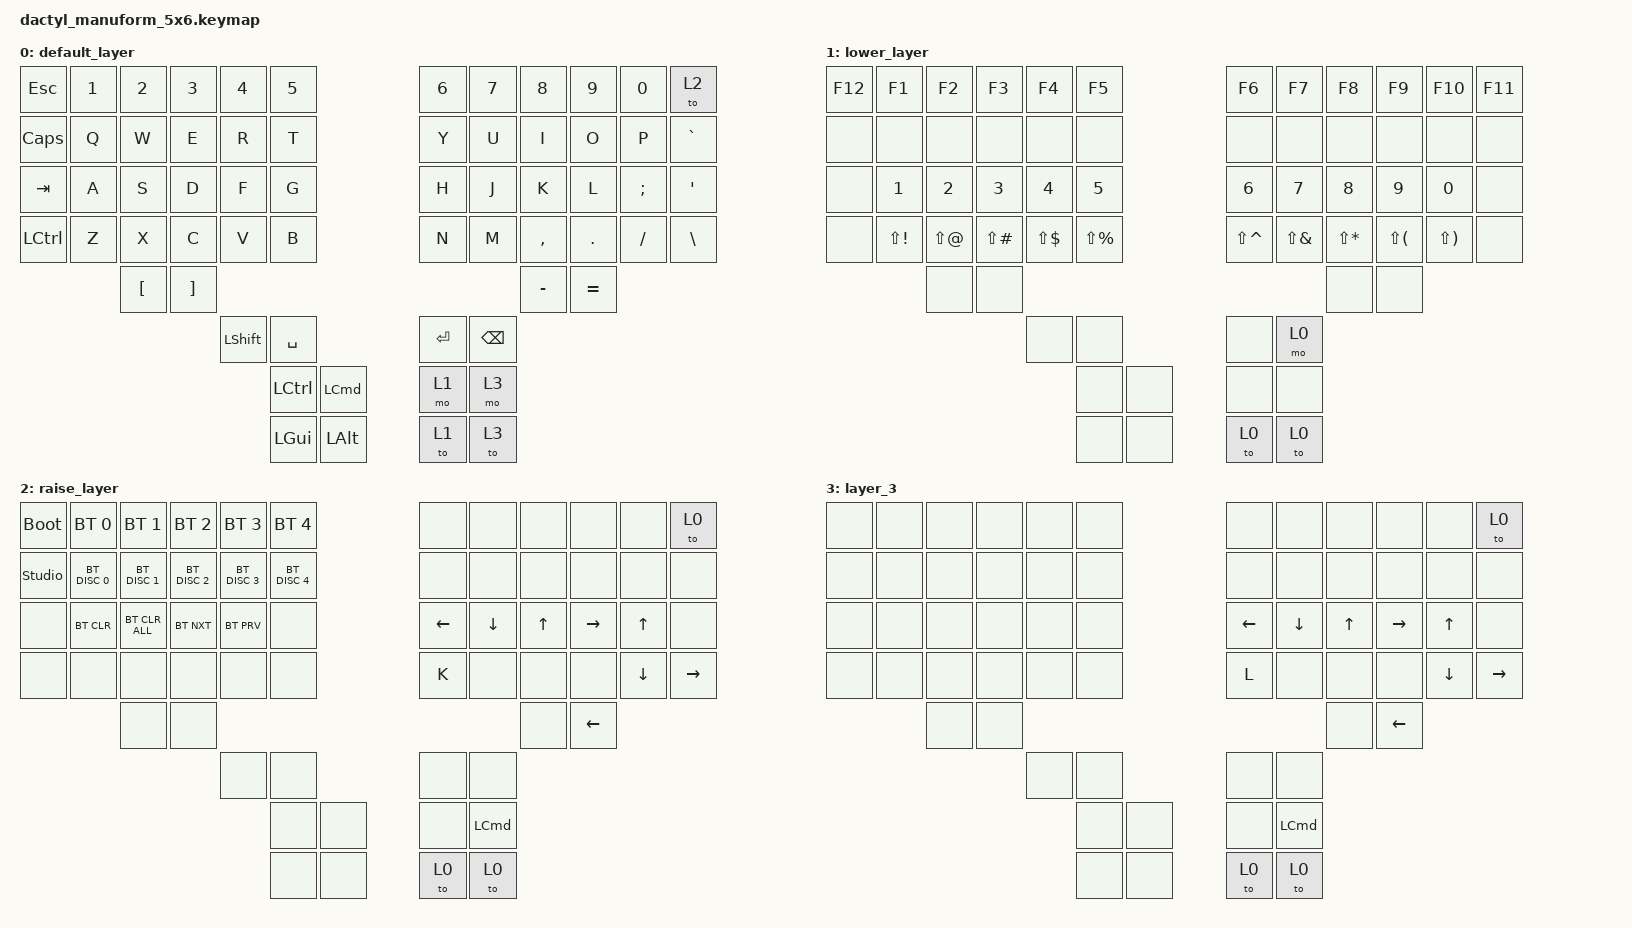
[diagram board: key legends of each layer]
#include <behaviors.dtsi>
#include <dt-bindings/zmk/bt.h>
#include <dt-bindings/zmk/keys.h>

#define DEFAULT 0
#define LWR 1
#define RSE 2
#define ADJ 3

/ {
    behaviors {
        F2_F5: F2_F5 {
            compatible = "zmk,behavior-tap-dance";
            label = "F2_F5";
            #binding-cells = <0>;
            bindings = <&kp F2>, <&kp F5>;
        };

        Bracket: Bracket {
            compatible = "zmk,behavior-tap-dance";
            label = "BRACKET";
            #binding-cells = <0>;
            bindings = <&kp LBKT>, <&kp RBKT>;
        };

        DMP: DMP {
            compatible = "zmk,behavior-tap-dance";
            label = "DMP";
            #binding-cells = <0>;
            bindings = <&kp C_VOL_DN>, <&kp C_MUTE>, <&kp C_PREVIOUS>;
        };

        UPN: UPN {
            compatible = "zmk,behavior-tap-dance";
            label = "UPN";
            #binding-cells = <0>;
            bindings = <&kp C_VOLUME_UP>, <&kp C_PLAY_PAUSE>, <&kp C_NEXT>;
        };

        BSLH_GRV: BSLH_GRV {
            compatible = "zmk,behavior-tap-dance";
            label = "BSLH_GRV";
            #binding-cells = <0>;
            bindings = <&kp BSLH>, <&kp GRAVE>;
        };
    };

    combos { compatible = "zmk,combos"; };

    keymap {
        compatible = "zmk,keymap";

        default_layer {
            bindings = <
&kp ESCAPE    &kp N1  &kp N2            &kp N3             &kp N4          &kp N5                                     &kp N6   &kp N7         &kp N8     &kp N9     &kp N0     &to 2
&kp CAPSLOCK  &kp Q   &kp W             &kp E              &kp R           &kp T                                      &kp Y    &kp U          &kp I      &kp O      &kp P      &kp GRAVE
&kp TAB       &kp A   &kp S             &kp D              &kp F           &kp G                                      &kp H    &kp J          &kp K      &kp L      &kp SEMI   &kp SQT
&kp LCTRL     &kp Z   &kp X             &kp C              &kp V           &kp B                                      &kp N    &kp M          &kp COMMA  &kp DOT    &kp SLASH  &kp BACKSLASH
                      &kp LEFT_BRACKET  &kp RIGHT_BRACKET                                                                                     &kp MINUS  &kp EQUAL
                                                           &kp LEFT_SHIFT  &kp SPACE                                  &kp RET  &kp BACKSPACE
                                                                           &kp LEFT_CONTROL  &kp LEFT_COMMAND  &mo 1  &mo 3
                                                                           &kp LEFT_GUI      &kp LEFT_ALT      &to 1  &to 3
            >;
        };

        lower_layer {
            bindings = <
&kp F12  &kp F1        &kp F2        &kp F3         &kp F4        &kp F5                       &kp F6         &kp F7        &kp F8        &kp F9        &kp F10       &kp F11
&none    &none         &none         &none          &none         &none                        &none          &none         &none         &none         &none         &none
&none    &kp NUMBER_1  &kp NUMBER_2  &kp NUMBER_3   &kp NUMBER_4  &kp NUMBER_5                 &kp NUMBER_6   &kp NUMBER_7  &kp NUMBER_8  &kp NUMBER_9  &kp NUMBER_0  &none
&none    &kp LS(EXCL)  &kp LS(AT)    &kp LS(POUND)  &kp LS(DLLR)  &kp LS(PRCNT)                &kp LS(CARET)  &kp LS(AMPS)  &kp LS(STAR)  &kp LS(LPAR)  &kp LS(RPAR)  &none
                       &none         &none                                                                                  &none         &none
                                                    &none         &none                        &none          &mo 0
                                                                  &none          &none  &none  &none
                                                                  &none          &none  &to 0  &to 0
            >;
        };

        raise_layer {
            bindings = <
&bootloader     &bt BT_SEL 0   &bt BT_SEL 1    &bt BT_SEL 2   &bt BT_SEL 3   &bt BT_SEL 4                 &none             &none     &none   &none      &none     &to 0
&studio_unlock  &bt BT_DISC 0  &bt BT_DISC 1   &bt BT_DISC 2  &bt BT_DISC 3  &bt BT_DISC 4                &none             &none     &none   &none      &none     &none
&none           &bt BT_CLR     &bt BT_CLR_ALL  &bt BT_NXT     &bt BT_PRV     &none                        &kp LEFT          &kp DOWN  &kp UP  &kp RIGHT  &kp UP    &none
&none           &none          &none           &none          &none          &none                        &kp K             &none     &none   &none      &kp DOWN  &kp RIGHT
                               &none           &none                                                                                  &none   &kp LEFT
                                                              &none          &none                        &none             &none
                                                                             &none          &none  &none  &kp LEFT_COMMAND
                                                                             &none          &none  &to 0  &to 0
            >;
        };

        layer_3 {
            bindings = <
&none  &none  &none  &none  &none  &none                &none             &none     &none   &none      &none     &to 0
&none  &none  &none  &none  &none  &none                &none             &none     &none   &none      &none     &none
&none  &none  &none  &none  &none  &none                &kp LEFT          &kp DOWN  &kp UP  &kp RIGHT  &kp UP    &none
&none  &none  &none  &none  &none  &none                &kp L             &none     &none   &none      &kp DOWN  &kp RIGHT
              &none  &none                                                          &none   &kp LEFT
                            &none  &none                &none             &none
                                   &none  &none  &none  &kp LEFT_COMMAND
                                   &none  &none  &to 0  &to 0
            >;
        };
    };
};
